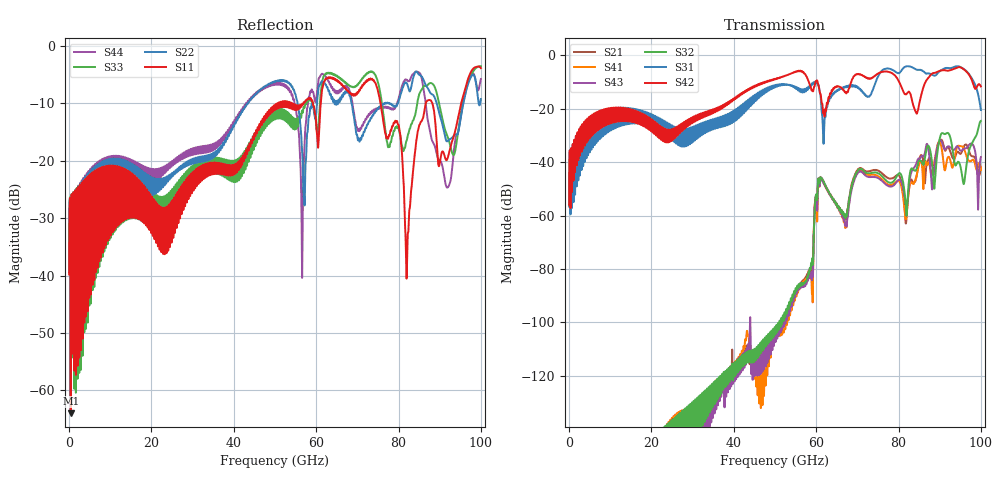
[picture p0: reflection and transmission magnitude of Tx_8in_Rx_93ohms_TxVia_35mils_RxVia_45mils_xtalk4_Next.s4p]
! Info: Touchstone file created by Circ.  Input file=Tx_8in_Rx_93ohms_TxVia_35mils_RxVia_45mils.circ
# Hz S RI R 50
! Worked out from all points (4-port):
!   10000 points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, 10 MHz to 100 GHz, reference 50 ohm
!   strongest paths, dB at 10 MHz, 25.01 GHz, 50.01 GHz, 75.01 GHz, 100 GHz:
!     S42: -56.0, -27.8, -8.9, -6.9, -11.7
!     S31: -56.6, -26.3, -11.5, -8.0, -20.5
!     S32: -, -136.9, -102.1, -44.2, -24.5
!     S43: -, -137.6, -102.4, -45.9, -38.1
!     S41: -, -136.0, -103.6, -45.2, -43.0
!     S21: -, -138.7, -104.0, -43.2, -41.9
!   lowest |S11| = -64.0 dB at 410 MHz (marker M1), VSWR 1.00, Z = 50 + j0.0407 ohm
!   |S11| at or under -10 dB: start of sweep to 50.57 GHz; 75.65 GHz to 86.61 GHz (10.96 GHz wide, 13.5 % of centre); 88.24 GHz to 95.21 GHz (6.969 GHz wide, 7.6 % of centre)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
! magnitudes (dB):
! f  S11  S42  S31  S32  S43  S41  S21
! 10 MHz  -39.8  -56.0  -56.6  -  -  -  -
! 410 MHz  -64.0  -40.6  -40.7  -192.2  -196.2  -189.2  -196.8
! 58.17 GHz  -9.1  -9.8  -11.8  -81.4  -82.9  -82.1  -80.9
! 60.96 GHz  -11.6  -14.2  -14.3  -46.1  -47.0  -46.7  -45.8
! 74.05 GHz  -6.0  -8.0  -11.7  -43.9  -45.6  -44.7  -42.9
! 82.02 GHz  -39.4  -14.3  -4.1  -59.2  -56.4  -58.9  -59.0
! 100 GHz  -3.8  -11.7  -20.5  -24.5  -38.1  -43.0  -41.9
